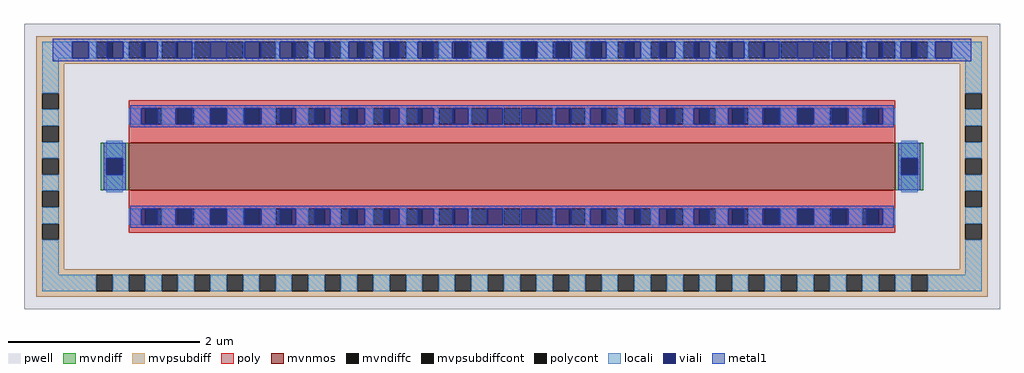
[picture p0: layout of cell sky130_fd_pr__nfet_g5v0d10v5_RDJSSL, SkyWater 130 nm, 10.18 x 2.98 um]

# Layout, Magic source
magic
tech sky130A
magscale 1 2
<< pwell >>
rect -1018 -298 1018 298
<< mvnmos >>
rect -800 -50 800 50
<< mvndiff >>
rect -858 17 -800 50
rect -858 -17 -846 17
rect -812 -17 -800 17
rect -858 -50 -800 -17
rect 800 17 858 50
rect 800 -17 812 17
rect 846 -17 858 17
rect 800 -50 858 -17
<< mvndiffc >>
rect -846 -17 -812 17
rect 812 -17 846 17
<< mvpsubdiff >>
rect -992 260 992 272
rect -992 226 -867 260
rect -833 226 -799 260
rect -765 226 -731 260
rect -697 226 -663 260
rect -629 226 -595 260
rect -561 226 -527 260
rect -493 226 -459 260
rect -425 226 -391 260
rect -357 226 -323 260
rect -289 226 -255 260
rect -221 226 -187 260
rect -153 226 -119 260
rect -85 226 -51 260
rect -17 226 17 260
rect 51 226 85 260
rect 119 226 153 260
rect 187 226 221 260
rect 255 226 289 260
rect 323 226 357 260
rect 391 226 425 260
rect 459 226 493 260
rect 527 226 561 260
rect 595 226 629 260
rect 663 226 697 260
rect 731 226 765 260
rect 799 226 833 260
rect 867 226 992 260
rect -992 214 992 226
rect -992 153 -934 214
rect -992 119 -980 153
rect -946 119 -934 153
rect 934 153 992 214
rect -992 85 -934 119
rect -992 51 -980 85
rect -946 51 -934 85
rect -992 17 -934 51
rect 934 119 946 153
rect 980 119 992 153
rect 934 85 992 119
rect 934 51 946 85
rect 980 51 992 85
rect -992 -17 -980 17
rect -946 -17 -934 17
rect -992 -51 -934 -17
rect 934 17 992 51
rect 934 -17 946 17
rect 980 -17 992 17
rect -992 -85 -980 -51
rect -946 -85 -934 -51
rect -992 -119 -934 -85
rect -992 -153 -980 -119
rect -946 -153 -934 -119
rect 934 -51 992 -17
rect 934 -85 946 -51
rect 980 -85 992 -51
rect 934 -119 992 -85
rect -992 -214 -934 -153
rect 934 -153 946 -119
rect 980 -153 992 -119
rect 934 -214 992 -153
rect -992 -226 992 -214
rect -992 -260 -867 -226
rect -833 -260 -799 -226
rect -765 -260 -731 -226
rect -697 -260 -663 -226
rect -629 -260 -595 -226
rect -561 -260 -527 -226
rect -493 -260 -459 -226
rect -425 -260 -391 -226
rect -357 -260 -323 -226
rect -289 -260 -255 -226
rect -221 -260 -187 -226
rect -153 -260 -119 -226
rect -85 -260 -51 -226
rect -17 -260 17 -226
rect 51 -260 85 -226
rect 119 -260 153 -226
rect 187 -260 221 -226
rect 255 -260 289 -226
rect 323 -260 357 -226
rect 391 -260 425 -226
rect 459 -260 493 -226
rect 527 -260 561 -226
rect 595 -260 629 -226
rect 663 -260 697 -226
rect 731 -260 765 -226
rect 799 -260 833 -226
rect 867 -260 992 -226
rect -992 -272 992 -260
<< mvpsubdiffcont >>
rect -867 226 -833 260
rect -799 226 -765 260
rect -731 226 -697 260
rect -663 226 -629 260
rect -595 226 -561 260
rect -527 226 -493 260
rect -459 226 -425 260
rect -391 226 -357 260
rect -323 226 -289 260
rect -255 226 -221 260
rect -187 226 -153 260
rect -119 226 -85 260
rect -51 226 -17 260
rect 17 226 51 260
rect 85 226 119 260
rect 153 226 187 260
rect 221 226 255 260
rect 289 226 323 260
rect 357 226 391 260
rect 425 226 459 260
rect 493 226 527 260
rect 561 226 595 260
rect 629 226 663 260
rect 697 226 731 260
rect 765 226 799 260
rect 833 226 867 260
rect -980 119 -946 153
rect -980 51 -946 85
rect 946 119 980 153
rect 946 51 980 85
rect -980 -17 -946 17
rect 946 -17 980 17
rect -980 -85 -946 -51
rect -980 -153 -946 -119
rect 946 -85 980 -51
rect 946 -153 980 -119
rect -867 -260 -833 -226
rect -799 -260 -765 -226
rect -731 -260 -697 -226
rect -663 -260 -629 -226
rect -595 -260 -561 -226
rect -527 -260 -493 -226
rect -459 -260 -425 -226
rect -391 -260 -357 -226
rect -323 -260 -289 -226
rect -255 -260 -221 -226
rect -187 -260 -153 -226
rect -119 -260 -85 -226
rect -51 -260 -17 -226
rect 17 -260 51 -226
rect 85 -260 119 -226
rect 153 -260 187 -226
rect 221 -260 255 -226
rect 289 -260 323 -226
rect 357 -260 391 -226
rect 425 -260 459 -226
rect 493 -260 527 -226
rect 561 -260 595 -226
rect 629 -260 663 -226
rect 697 -260 731 -226
rect 765 -260 799 -226
rect 833 -260 867 -226
<< poly >>
rect -800 122 800 138
rect -800 88 -765 122
rect -731 88 -697 122
rect -663 88 -629 122
rect -595 88 -561 122
rect -527 88 -493 122
rect -459 88 -425 122
rect -391 88 -357 122
rect -323 88 -289 122
rect -255 88 -221 122
rect -187 88 -153 122
rect -119 88 -85 122
rect -51 88 -17 122
rect 17 88 51 122
rect 85 88 119 122
rect 153 88 187 122
rect 221 88 255 122
rect 289 88 323 122
rect 357 88 391 122
rect 425 88 459 122
rect 493 88 527 122
rect 561 88 595 122
rect 629 88 663 122
rect 697 88 731 122
rect 765 88 800 122
rect -800 50 800 88
rect -800 -88 800 -50
rect -800 -122 -765 -88
rect -731 -122 -697 -88
rect -663 -122 -629 -88
rect -595 -122 -561 -88
rect -527 -122 -493 -88
rect -459 -122 -425 -88
rect -391 -122 -357 -88
rect -323 -122 -289 -88
rect -255 -122 -221 -88
rect -187 -122 -153 -88
rect -119 -122 -85 -88
rect -51 -122 -17 -88
rect 17 -122 51 -88
rect 85 -122 119 -88
rect 153 -122 187 -88
rect 221 -122 255 -88
rect 289 -122 323 -88
rect 357 -122 391 -88
rect 425 -122 459 -88
rect 493 -122 527 -88
rect 561 -122 595 -88
rect 629 -122 663 -88
rect 697 -122 731 -88
rect 765 -122 800 -88
rect -800 -138 800 -122
<< polycont >>
rect -765 88 -731 122
rect -697 88 -663 122
rect -629 88 -595 122
rect -561 88 -527 122
rect -493 88 -459 122
rect -425 88 -391 122
rect -357 88 -323 122
rect -289 88 -255 122
rect -221 88 -187 122
rect -153 88 -119 122
rect -85 88 -51 122
rect -17 88 17 122
rect 51 88 85 122
rect 119 88 153 122
rect 187 88 221 122
rect 255 88 289 122
rect 323 88 357 122
rect 391 88 425 122
rect 459 88 493 122
rect 527 88 561 122
rect 595 88 629 122
rect 663 88 697 122
rect 731 88 765 122
rect -765 -122 -731 -88
rect -697 -122 -663 -88
rect -629 -122 -595 -88
rect -561 -122 -527 -88
rect -493 -122 -459 -88
rect -425 -122 -391 -88
rect -357 -122 -323 -88
rect -289 -122 -255 -88
rect -221 -122 -187 -88
rect -153 -122 -119 -88
rect -85 -122 -51 -88
rect -17 -122 17 -88
rect 51 -122 85 -88
rect 119 -122 153 -88
rect 187 -122 221 -88
rect 255 -122 289 -88
rect 323 -122 357 -88
rect 391 -122 425 -88
rect 459 -122 493 -88
rect 527 -122 561 -88
rect 595 -122 629 -88
rect 663 -122 697 -88
rect 731 -122 765 -88
<< locali >>
rect -980 226 -917 260
rect -883 226 -867 260
rect -811 226 -799 260
rect -739 226 -731 260
rect -667 226 -663 260
rect -561 226 -557 260
rect -493 226 -485 260
rect -425 226 -413 260
rect -357 226 -341 260
rect -289 226 -269 260
rect -221 226 -197 260
rect -153 226 -125 260
rect -85 226 -53 260
rect -17 226 17 260
rect 53 226 85 260
rect 125 226 153 260
rect 197 226 221 260
rect 269 226 289 260
rect 341 226 357 260
rect 413 226 425 260
rect 485 226 493 260
rect 557 226 561 260
rect 663 226 667 260
rect 731 226 739 260
rect 799 226 811 260
rect 867 226 883 260
rect 917 226 980 260
rect -980 153 -946 226
rect 946 153 980 226
rect -980 85 -946 119
rect -800 88 -773 122
rect -731 88 -701 122
rect -663 88 -629 122
rect -595 88 -561 122
rect -523 88 -493 122
rect -451 88 -425 122
rect -379 88 -357 122
rect -307 88 -289 122
rect -235 88 -221 122
rect -163 88 -153 122
rect -91 88 -85 122
rect -19 88 -17 122
rect 17 88 19 122
rect 85 88 91 122
rect 153 88 163 122
rect 221 88 235 122
rect 289 88 307 122
rect 357 88 379 122
rect 425 88 451 122
rect 493 88 523 122
rect 561 88 595 122
rect 629 88 663 122
rect 701 88 731 122
rect 773 88 800 122
rect 946 85 980 119
rect -980 17 -946 51
rect -980 -51 -946 -17
rect -846 17 -812 54
rect -846 -54 -812 -17
rect 812 17 846 54
rect 812 -54 846 -17
rect 946 17 980 51
rect 946 -51 980 -17
rect -980 -119 -946 -85
rect -800 -122 -773 -88
rect -731 -122 -701 -88
rect -663 -122 -629 -88
rect -595 -122 -561 -88
rect -523 -122 -493 -88
rect -451 -122 -425 -88
rect -379 -122 -357 -88
rect -307 -122 -289 -88
rect -235 -122 -221 -88
rect -163 -122 -153 -88
rect -91 -122 -85 -88
rect -19 -122 -17 -88
rect 17 -122 19 -88
rect 85 -122 91 -88
rect 153 -122 163 -88
rect 221 -122 235 -88
rect 289 -122 307 -88
rect 357 -122 379 -88
rect 425 -122 451 -88
rect 493 -122 523 -88
rect 561 -122 595 -88
rect 629 -122 663 -88
rect 701 -122 731 -88
rect 773 -122 800 -88
rect 946 -119 980 -85
rect -980 -226 -946 -153
rect 946 -226 980 -153
rect -980 -260 -867 -226
rect -833 -260 -799 -226
rect -765 -260 -731 -226
rect -697 -260 -663 -226
rect -629 -260 -595 -226
rect -561 -260 -527 -226
rect -493 -260 -459 -226
rect -425 -260 -391 -226
rect -357 -260 -323 -226
rect -289 -260 -255 -226
rect -221 -260 -187 -226
rect -153 -260 -119 -226
rect -85 -260 -51 -226
rect -17 -260 17 -226
rect 51 -260 85 -226
rect 119 -260 153 -226
rect 187 -260 221 -226
rect 255 -260 289 -226
rect 323 -260 357 -226
rect 391 -260 425 -226
rect 459 -260 493 -226
rect 527 -260 561 -226
rect 595 -260 629 -226
rect 663 -260 697 -226
rect 731 -260 765 -226
rect 799 -260 833 -226
rect 867 -260 980 -226
<< viali >>
rect -917 226 -883 260
rect -845 226 -833 260
rect -833 226 -811 260
rect -773 226 -765 260
rect -765 226 -739 260
rect -701 226 -697 260
rect -697 226 -667 260
rect -629 226 -595 260
rect -557 226 -527 260
rect -527 226 -523 260
rect -485 226 -459 260
rect -459 226 -451 260
rect -413 226 -391 260
rect -391 226 -379 260
rect -341 226 -323 260
rect -323 226 -307 260
rect -269 226 -255 260
rect -255 226 -235 260
rect -197 226 -187 260
rect -187 226 -163 260
rect -125 226 -119 260
rect -119 226 -91 260
rect -53 226 -51 260
rect -51 226 -19 260
rect 19 226 51 260
rect 51 226 53 260
rect 91 226 119 260
rect 119 226 125 260
rect 163 226 187 260
rect 187 226 197 260
rect 235 226 255 260
rect 255 226 269 260
rect 307 226 323 260
rect 323 226 341 260
rect 379 226 391 260
rect 391 226 413 260
rect 451 226 459 260
rect 459 226 485 260
rect 523 226 527 260
rect 527 226 557 260
rect 595 226 629 260
rect 667 226 697 260
rect 697 226 701 260
rect 739 226 765 260
rect 765 226 773 260
rect 811 226 833 260
rect 833 226 845 260
rect 883 226 917 260
rect -773 88 -765 122
rect -765 88 -739 122
rect -701 88 -697 122
rect -697 88 -667 122
rect -629 88 -595 122
rect -557 88 -527 122
rect -527 88 -523 122
rect -485 88 -459 122
rect -459 88 -451 122
rect -413 88 -391 122
rect -391 88 -379 122
rect -341 88 -323 122
rect -323 88 -307 122
rect -269 88 -255 122
rect -255 88 -235 122
rect -197 88 -187 122
rect -187 88 -163 122
rect -125 88 -119 122
rect -119 88 -91 122
rect -53 88 -51 122
rect -51 88 -19 122
rect 19 88 51 122
rect 51 88 53 122
rect 91 88 119 122
rect 119 88 125 122
rect 163 88 187 122
rect 187 88 197 122
rect 235 88 255 122
rect 255 88 269 122
rect 307 88 323 122
rect 323 88 341 122
rect 379 88 391 122
rect 391 88 413 122
rect 451 88 459 122
rect 459 88 485 122
rect 523 88 527 122
rect 527 88 557 122
rect 595 88 629 122
rect 667 88 697 122
rect 697 88 701 122
rect 739 88 765 122
rect 765 88 773 122
rect -846 -17 -812 17
rect 812 -17 846 17
rect -773 -122 -765 -88
rect -765 -122 -739 -88
rect -701 -122 -697 -88
rect -697 -122 -667 -88
rect -629 -122 -595 -88
rect -557 -122 -527 -88
rect -527 -122 -523 -88
rect -485 -122 -459 -88
rect -459 -122 -451 -88
rect -413 -122 -391 -88
rect -391 -122 -379 -88
rect -341 -122 -323 -88
rect -323 -122 -307 -88
rect -269 -122 -255 -88
rect -255 -122 -235 -88
rect -197 -122 -187 -88
rect -187 -122 -163 -88
rect -125 -122 -119 -88
rect -119 -122 -91 -88
rect -53 -122 -51 -88
rect -51 -122 -19 -88
rect 19 -122 51 -88
rect 51 -122 53 -88
rect 91 -122 119 -88
rect 119 -122 125 -88
rect 163 -122 187 -88
rect 187 -122 197 -88
rect 235 -122 255 -88
rect 255 -122 269 -88
rect 307 -122 323 -88
rect 323 -122 341 -88
rect 379 -122 391 -88
rect 391 -122 413 -88
rect 451 -122 459 -88
rect 459 -122 485 -88
rect 523 -122 527 -88
rect 527 -122 557 -88
rect 595 -122 629 -88
rect 667 -122 697 -88
rect 697 -122 701 -88
rect 739 -122 765 -88
rect 765 -122 773 -88
<< metal1 >>
rect -958 260 958 266
rect -958 226 -917 260
rect -883 226 -845 260
rect -811 226 -773 260
rect -739 226 -701 260
rect -667 226 -629 260
rect -595 226 -557 260
rect -523 226 -485 260
rect -451 226 -413 260
rect -379 226 -341 260
rect -307 226 -269 260
rect -235 226 -197 260
rect -163 226 -125 260
rect -91 226 -53 260
rect -19 226 19 260
rect 53 226 91 260
rect 125 226 163 260
rect 197 226 235 260
rect 269 226 307 260
rect 341 226 379 260
rect 413 226 451 260
rect 485 226 523 260
rect 557 226 595 260
rect 629 226 667 260
rect 701 226 739 260
rect 773 226 811 260
rect 845 226 883 260
rect 917 226 958 260
rect -958 220 958 226
rect -796 122 796 128
rect -796 88 -773 122
rect -739 88 -701 122
rect -667 88 -629 122
rect -595 88 -557 122
rect -523 88 -485 122
rect -451 88 -413 122
rect -379 88 -341 122
rect -307 88 -269 122
rect -235 88 -197 122
rect -163 88 -125 122
rect -91 88 -53 122
rect -19 88 19 122
rect 53 88 91 122
rect 125 88 163 122
rect 197 88 235 122
rect 269 88 307 122
rect 341 88 379 122
rect 413 88 451 122
rect 485 88 523 122
rect 557 88 595 122
rect 629 88 667 122
rect 701 88 739 122
rect 773 88 796 122
rect -796 82 796 88
rect -852 17 -806 50
rect -852 -17 -846 17
rect -812 -17 -806 17
rect -852 -50 -806 -17
rect 806 17 852 50
rect 806 -17 812 17
rect 846 -17 852 17
rect 806 -50 852 -17
rect -796 -88 796 -82
rect -796 -122 -773 -88
rect -739 -122 -701 -88
rect -667 -122 -629 -88
rect -595 -122 -557 -88
rect -523 -122 -485 -88
rect -451 -122 -413 -88
rect -379 -122 -341 -88
rect -307 -122 -269 -88
rect -235 -122 -197 -88
rect -163 -122 -125 -88
rect -91 -122 -53 -88
rect -19 -122 19 -88
rect 53 -122 91 -88
rect 125 -122 163 -88
rect 197 -122 235 -88
rect 269 -122 307 -88
rect 341 -122 379 -88
rect 413 -122 451 -88
rect 485 -122 523 -88
rect 557 -122 595 -88
rect 629 -122 667 -88
rect 701 -122 739 -88
rect 773 -122 796 -88
rect -796 -128 796 -122
<< properties >>
string FIXED_BBOX -963 -243 963 243
<< end >>
